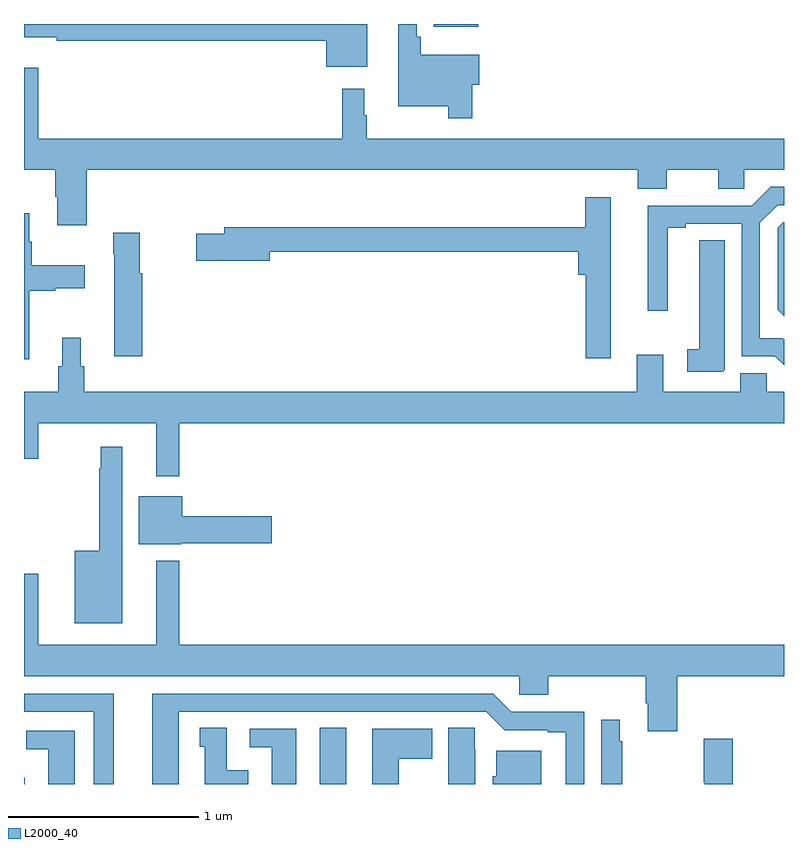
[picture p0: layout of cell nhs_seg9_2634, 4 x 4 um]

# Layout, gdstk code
import gdstk
lib = gdstk.Library(unit=1e-6, precision=1e-09)
def R(c, l, rs):  # rectangles x0, y0, x1, y1
    for r in rs: c.add(gdstk.rectangle(r[:2], r[2:], *l))
def P(c, l, *ps):  # polygons
    for p in ps: c.add(gdstk.Polygon(p, *l))
L2000_40 = (2000, 40)

nhs_seg9_2634 = lib.new_cell('nhs_seg9_2634')
R(nhs_seg9_2634, L2000_40, [(261,1214.5,261.003,1214.533), (262.556,1214.5,262.696,1214.795), (263.156,1218.485,263.392,1218.5)])
P(nhs_seg9_2634, L2000_40, [(262.807,1218.5),(261,1218.5),(261,1218.431),(261.172,1218.431),(261.172,1218.412),(262.592,1218.412),(262.592,1218.275),(262.807,1218.275)],
  [(263.36,1218.179),(263.395,1218.179),(263.395,1218.337),(263.087,1218.337),(263.087,1218.433),(263.067,1218.433),(263.067,1218.5),(262.97,1218.5),(262.97,1218.068),(263.232,1218.068),(263.232,1218.003),(263.36,1218.003)],
  [(261.329,1217.732),(264.23,1217.732),(264.23,1217.633),(264.382,1217.633),(264.382,1217.732),(264.653,1217.732),(264.653,1217.634),(264.792,1217.634),(264.792,1217.732),(265,1217.732),(265,1217.896),(262.804,1217.896),(262.804,1218.02),(262.792,1218.02),(262.792,1218.16),(262.675,1218.16),(262.675,1217.896),(261.076,1217.896),(261.076,1218.271),(261,1218.271),(261,1217.732),(261.164,1217.732),(261.164,1217.59),(261.176,1217.59),(261.176,1217.442),(261.329,1217.442)],
  [(265,1216.841),(264.994,1216.847),(264.873,1216.847),(264.873,1217.454),(264.966,1217.547),(265,1217.547),(265,1217.643),(264.929,1217.643),(264.83,1217.544),(264.284,1217.544),(264.284,1216.992),(264.388,1216.992),(264.388,1217.428),(264.484,1217.428),(264.484,1217.448),(264.777,1217.448),(264.777,1216.752),(264.951,1216.752),(265,1216.703)],
  [(264.088,1217.587),(263.954,1217.587),(263.954,1217.431),(262.055,1217.431),(262.055,1217.397),(261.906,1217.397),(261.906,1217.255),(262.294,1217.255),(262.294,1217.302),(263.918,1217.302),(263.918,1217.18),(263.957,1217.18),(263.957,1216.74),(264.088,1216.74)],
  [(261.028,1217.096),(261.165,1217.096),(261.165,1217.108),(261.319,1217.108),(261.319,1217.23),(261.04,1217.23),(261.04,1217.354),(261.028,1217.354),(261.028,1217.503),(261,1217.503),(261,1216.736),(261.028,1216.736)],
  [(265,1217.457),(264.996,1217.457),(264.966,1217.427),(264.966,1216.995),(265,1216.961)],
  [(261.623,1217.188),(261.61,1217.188),(261.61,1217.401),(261.469,1217.401),(261.469,1217.288),(261.476,1217.288),(261.476,1216.752),(261.623,1216.752)],
  [(264.688,1216.681),(264.688,1217.363),(264.554,1217.363),(264.554,1216.787),(264.492,1216.787),(264.492,1216.671),(264.678,1216.671)],
  [(261.817,1216.4),(265,1216.4),(265,1216.564),(264.909,1216.564),(264.909,1216.662),(264.77,1216.662),(264.77,1216.564),(264.364,1216.564),(264.364,1216.759),(264.224,1216.759),(264.224,1216.564),(261.317,1216.564),(261.317,1216.698),(261.298,1216.698),(261.298,1216.849),(261.2,1216.849),(261.2,1216.698),(261.181,1216.698),(261.181,1216.564),(261,1216.564),(261,1216.212),(261.076,1216.212),(261.076,1216.4),(261.695,1216.4),(261.695,1216.119),(261.817,1216.119)],
  [(261.517,1216.276),(261.403,1216.276),(261.403,1216.163),(261.396,1216.163),(261.396,1215.727),(261.266,1215.727),(261.266,1215.347),(261.517,1215.347)],
  [(261.828,1215.767),(262.303,1215.767),(262.303,1215.909),(261.832,1215.909),(261.832,1216.015),(261.605,1216.015),(261.605,1215.761),(261.828,1215.761)],
  [(264.437,1215.068),(265,1215.068),(265,1215.232),(261.817,1215.232),(261.817,1215.676),(261.695,1215.676),(261.695,1215.232),(261.076,1215.232),(261.076,1215.607),(261,1215.607),(261,1215.068),(263.607,1215.068),(263.607,1214.97),(263.759,1214.97),(263.759,1215.068),(264.272,1215.068),(264.272,1214.926),(264.284,1214.926),(264.284,1214.778),(264.437,1214.778)],
  [(261.472,1214.976),(261,1214.976),(261,1214.88),(261.368,1214.88),(261.368,1214.5),(261.472,1214.5)],
  [(261.814,1214.88),(263.433,1214.88),(263.529,1214.784),(263.756,1214.784),(263.756,1214.772),(263.852,1214.772),(263.852,1214.5),(263.949,1214.5),(263.949,1214.88),(263.565,1214.88),(263.469,1214.976),(261.674,1214.976),(261.674,1214.5),(261.814,1214.5)],
  [(264.148,1214.726),(264.136,1214.726),(264.136,1214.839),(264.039,1214.839),(264.039,1214.5),(264.148,1214.5)],
  [(263.374,1214.684),(263.373,1214.684),(263.373,1214.795),(263.234,1214.795),(263.234,1214.5),(263.374,1214.5)],
  [(262.18,1214.572),(262.066,1214.572),(262.066,1214.795),(261.926,1214.795),(261.926,1214.697),(261.95,1214.697),(261.95,1214.5),(262.18,1214.5)],
  [(262.972,1214.632),(263.149,1214.632),(263.149,1214.791),(262.832,1214.791),(262.832,1214.5),(262.972,1214.5)],
  [(262.432,1214.79),(262.188,1214.79),(262.188,1214.694),(262.304,1214.694),(262.304,1214.5),(262.432,1214.5)],
  [(261.268,1214.781),(261.012,1214.781),(261.012,1214.684),(261.128,1214.684),(261.128,1214.5),(261.268,1214.5)],
  [(264.731,1214.737),(264.577,1214.737),(264.577,1214.506),(264.584,1214.506),(264.584,1214.5),(264.731,1214.5)],
  [(263.722,1214.674),(263.486,1214.674),(263.486,1214.541),(263.468,1214.541),(263.468,1214.5),(263.722,1214.5)])

lib.write_gds('nhs_seg9_2634.gds')
